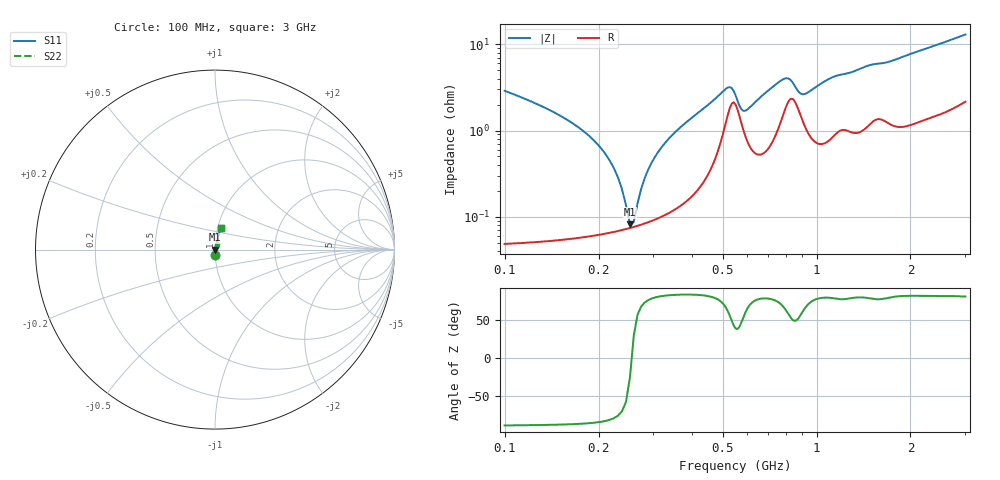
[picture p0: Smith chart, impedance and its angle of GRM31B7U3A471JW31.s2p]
!Murata Part Number: GRM31B7U3A471JW31
!These Parameters are Measured in Series Mode Connection
!Data Generated on Mar 30, 2021
!  o--ll--o
!Port1  Port2
!  o------o
!Operation Temp=25[degC], DC Bias Voltage=0[V]
!Freq. Start=100[MHz] Stop=3[GHz] 401[Steps]
# Hz S RI R 50
!Freq.(Hz) S11(Real) S11(Imag) S21(Real) S21(Imag) S12(Real) S12(Imag) S22(Real) S22(Imag)
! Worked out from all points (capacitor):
!   401 points, 100 MHz to 3 GHz, reference 50 ohm
!   read as one part in series: C = 466 pF near 114.5 MHz
!   lowest |Z| = 82.3 mohm at 252.2 MHz (marker M1)
!   series resonance near 255.6 MHz, so ESL is about 830 pH
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1e8  0.00131 -0.0288  0.9987 0.0288  0.9987 0.0288  0.00131 -0.0288
1.5075e8  0.000758 -0.0148  0.9992 0.0148  0.9992 0.0148  0.000758 -0.0148
1.9425e8  0.000663 -0.00751  0.9993 0.00751  0.9993 0.00751  0.000663 -0.00751
2.16e8  0.000671 -0.00459  0.9993 0.00459  0.9993 0.00459  0.000671 -0.00459
2.45e8  0.000722 -0.00116  0.9993 0.00116  0.9993 0.00116  0.000722 -0.00116
2.5225e8  0.000742 -0.000356  0.9993 0.000356  0.9993 0.000356  0.000742 -0.000356
2.6675e8  0.000788 0.00119  0.9992 -0.00119  0.9992 -0.00119  0.000788 0.00119
2.885e8  0.000876 0.0034  0.9991 -0.0034  0.9991 -0.0034  0.000876 0.0034
3.1025e8  0.00099 0.00551  0.999 -0.00551  0.999 -0.00551  0.00099 0.00551
3.3925e8  0.00119 0.00826  0.9988 -0.00826  0.9988 -0.00826  0.00119 0.00826
3.8275e8  0.00166 0.0124  0.9983 -0.0124  0.9983 -0.0124  0.00166 0.0124
5.205e8  0.0161 0.0266  0.9839 -0.0266  0.9839 -0.0266  0.0161 0.0266
5.35e8  0.0206 0.0222  0.9794 -0.0222  0.9794 -0.0222  0.0206 0.0222
5.8575e8  0.00962 0.0136  0.9904 -0.0136  0.9904 -0.0136  0.00962 0.0136
7.8875e8  0.0177 0.035  0.9823 -0.035  0.9823 -0.035  0.0177 0.035
8.1775e8  0.0229 0.0311  0.9771 -0.0311  0.9771 -0.0311  0.0229 0.0311
9.0475e8  0.013 0.0225  0.987 -0.0225  0.987 -0.0225  0.013 0.0225
1.0715e9  0.00852 0.0366  0.9915 -0.0366  0.9915 -0.0366  0.00852 0.0366
1.55e9  0.0163 0.0559  0.9837 -0.0559  0.9837 -0.0559  0.0163 0.0559
2.03575e9  0.0175 0.0757  0.9825 -0.0757  0.9825 -0.0757  0.0175 0.0757
2.5215e9  0.0252 0.0976  0.9748 -0.0976  0.9748 -0.0976  0.0252 0.0976
3e9  0.0362 0.1205  0.9638 -0.1205  0.9638 -0.1205  0.0362 0.1205
